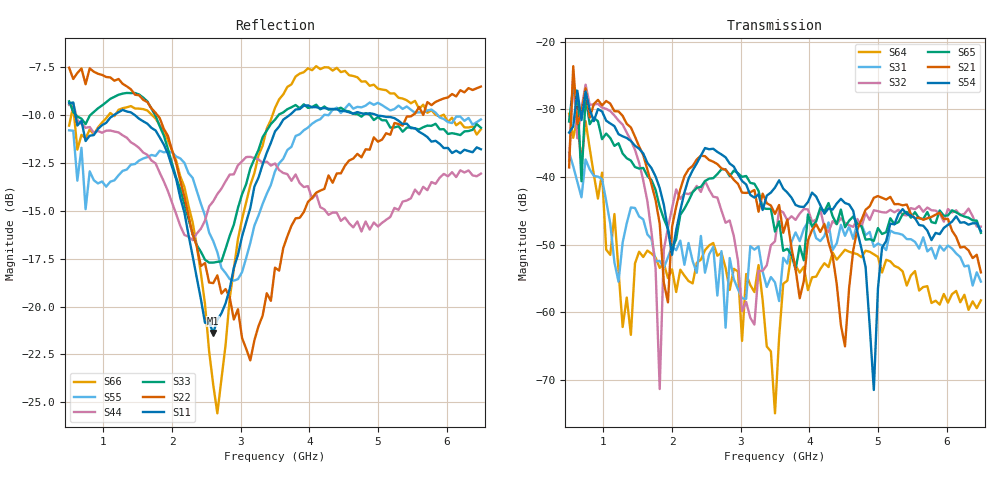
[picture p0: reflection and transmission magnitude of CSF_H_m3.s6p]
!Keysight Technologies,M9804A,MY58100912,A.14.10.03
!Date: Thursday, April 27, 2023 10:28:33
!Correction: S11(C  6-Port  )
!S12(C  6-Port  )
!S13(C  6-Port  )
!S14(C  6-Port  )
!S15(C  6-Port  )
!S16(C  6-Port  )
!S21(C  6-Port  )
!S22(C  6-Port  )
!S23(C  6-Port  )
!S24(C  6-Port  )
!S25(C  6-Port  )
!S26(C  6-Port  )
!S31(C  6-Port  )
!S32(C  6-Port  )
!S33(C  6-Port  )
!S34(C  6-Port  )
!S35(C  6-Port  )
!S36(C  6-Port  )
!S41(C  6-Port  )
!S42(C  6-Port  )
!S43(C  6-Port  )
!S44(C  6-Port  )
!S45(C  6-Port  )
!S46(C  6-Port  )
!S51(C  6-Port  )
!S52(C  6-Port  )
!S53(C  6-Port  )
!S54(C  6-Port  )
!S55(C  6-Port  )
!S56(C  6-Port  )
!S61(C  6-Port  )
!S62(C  6-Port  )
!S63(C  6-Port  )
!S64(C  6-Port  )
!S65(C  6-Port  )
!S66(C  6-Port  )
!S6P File: Measurement: :
# Hz S  RI  R 50
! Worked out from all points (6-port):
!   101 points, 500 MHz to 6.5 GHz, reference 50 ohm
!   strongest paths, dB at 500 MHz, 2 GHz, 3.5 GHz, 5 GHz, 6.5 GHz:
!     S54: -33.4, -51.5, -41.6, -56.5, -48.0
!     S21: -38.6, -47.4, -45.5, -42.8, -54.1
!     S65: -31.8, -50.6, -48.1, -47.6, -48.3
!     S32: -37.6, -44.6, -49.5, -45.1, -47.3
!     S31: -36.4, -50.3, -55.6, -49.9, -55.5
!     S64: -30.7, -53.7, -75.0, -51.8, -58.3
!   lowest |S11| = -21.4 dB at 2.6 GHz (marker M1), VSWR 1.19, Z = 42.4 + j2.25 ohm
!   |S11| at or under -10 dB: 593.3 MHz to 1.15 GHz (556.9 MHz wide, 63.9 % of centre); 1.46 GHz to 3.708 GHz (2.248 GHz wide, 87 % of centre); 4.986 GHz to end of sweep
